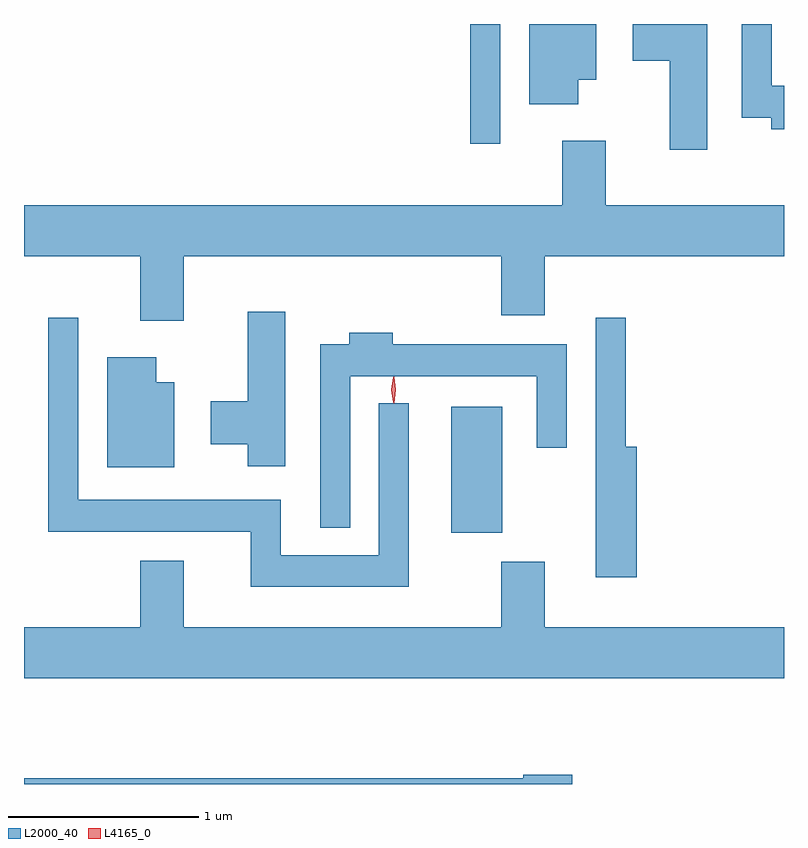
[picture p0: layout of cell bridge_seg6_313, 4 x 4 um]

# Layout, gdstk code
import gdstk
lib = gdstk.Library(unit=1e-6, precision=1e-09)
def R(c, l, rs):  # rectangles x0, y0, x1, y1
    for r in rs: c.add(gdstk.rectangle(r[:2], r[2:], *l))
def P(c, l, *ps):  # polygons
    for p in ps: c.add(gdstk.Polygon(p, *l))
L2000_40 = (2000, 40)
L4165_0 = (4165, 0)

bridge_seg6_313 = lib.new_cell('bridge_seg6_313')
R(bridge_seg6_313, L2000_40, [(1327.106,1559.681,1327.374,1560.344), (1327.206,1561.728,1327.364,1562.359)])
P(bridge_seg6_313, L2000_40, [(1328.858,1562.034),(1328.794,1562.034),(1328.794,1562.359),(1328.636,1562.359),(1328.636,1561.866),(1328.791,1561.866),(1328.791,1561.806),(1328.858,1561.806)],
  [(1327.774,1562.066),(1327.869,1562.066),(1327.869,1562.359),(1327.516,1562.359),(1327.516,1561.936),(1327.774,1561.936)],
  [(1328.454,1562.359),(1328.061,1562.359),(1328.061,1562.166),(1328.256,1562.166),(1328.256,1561.696),(1328.454,1561.696)],
  [(1325.699,1561.136),(1327.371,1561.136),(1327.371,1560.826),(1327.599,1560.826),(1327.599,1561.136),(1328.858,1561.136),(1328.858,1561.404),(1327.919,1561.404),(1327.919,1561.744),(1327.691,1561.744),(1327.691,1561.404),(1324.858,1561.404),(1324.858,1561.136),(1325.471,1561.136),(1325.471,1560.796),(1325.699,1560.796)],
  [(1326.234,1560.844),(1326.036,1560.844),(1326.036,1560.374),(1325.841,1560.374),(1325.841,1560.146),(1326.036,1560.146),(1326.036,1560.031),(1326.234,1560.031)],
  [(1328.084,1560.134),(1328.024,1560.134),(1328.024,1560.813),(1327.866,1560.813),(1327.866,1559.446),(1328.084,1559.446)],
  [(1326.884,1560.363),(1326.726,1560.363),(1326.726,1559.564),(1326.209,1559.564),(1326.209,1559.854),(1325.144,1559.854),(1325.144,1560.813),(1324.986,1560.813),(1324.986,1559.686),(1326.051,1559.686),(1326.051,1559.396),(1326.884,1559.396)],
  [(1326.574,1560.506),(1327.556,1560.506),(1327.556,1560.128),(1327.714,1560.128),(1327.714,1560.674),(1326.799,1560.674),(1326.799,1560.734),(1326.571,1560.734),(1326.571,1560.674),(1326.416,1560.674),(1326.416,1559.708),(1326.574,1559.708)],
  [(1325.649,1560.474),(1325.554,1560.474),(1325.554,1560.604),(1325.296,1560.604),(1325.296,1560.026),(1325.649,1560.026)],
  [(1328.858,1559.184),(1327.599,1559.184),(1327.599,1559.529),(1327.371,1559.529),(1327.371,1559.184),(1325.699,1559.184),(1325.699,1559.534),(1325.471,1559.534),(1325.471,1559.184),(1324.858,1559.184),(1324.858,1558.916),(1328.858,1558.916)],
  [(1327.744,1558.409),(1327.486,1558.409),(1327.486,1558.389),(1324.858,1558.389),(1324.858,1558.359),(1327.744,1558.359)])
P(bridge_seg6_313, L4165_0, [(1326.805,1560.364),(1326.805,1560.364),(1326.795,1560.434),(1326.805,1560.503),(1326.805,1560.503),(1326.806,1560.503),(1326.815,1560.434),(1326.806,1560.364)],
  [(1326.803,1560.367),(1326.802,1560.368),(1326.792,1560.434),(1326.802,1560.5),(1326.802,1560.5),(1326.803,1560.5),(1326.812,1560.434),(1326.803,1560.368)])

lib.write_gds('bridge_seg6_313.gds')
